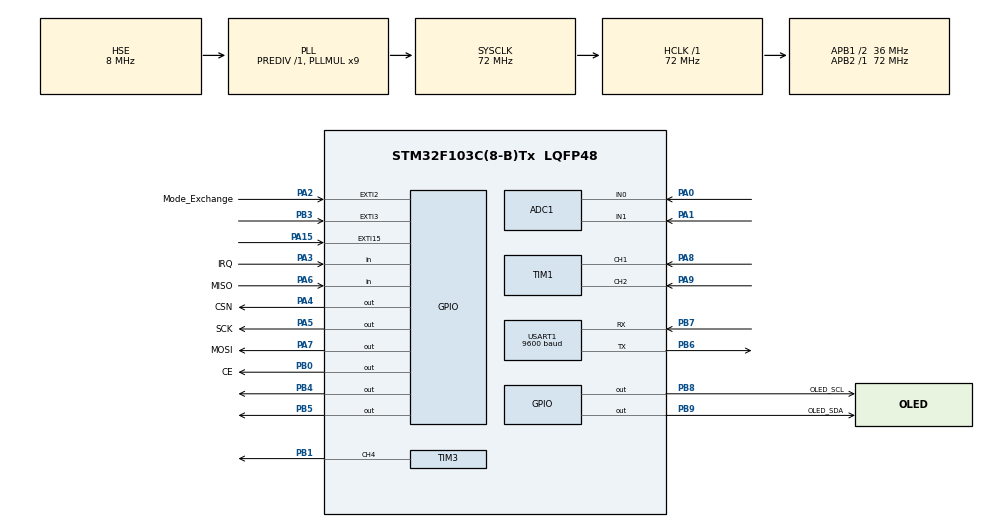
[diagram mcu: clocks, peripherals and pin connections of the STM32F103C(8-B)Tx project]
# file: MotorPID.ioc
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ADC1.Channel-1\#ChannelRegularConversion=ADC_CHANNEL_0
ADC1.Channel-2\#ChannelRegularConversion=ADC_CHANNEL_1
ADC1.ContinuousConvMode=ENABLE
ADC1.NbrOfConversion=2
ADC1.NbrOfConversionFlag=1
ADC1.Rank-1\#ChannelRegularConversion=1
ADC1.Rank-2\#ChannelRegularConversion=2
ADC1.SamplingTime-1\#ChannelRegularConversion=ADC_SAMPLETIME_55CYCLES_5
ADC1.SamplingTime-2\#ChannelRegularConversion=ADC_SAMPLETIME_55CYCLES_5
ADC1.master=1
Dma.ADC1.0.Direction=DMA_PERIPH_TO_MEMORY
Dma.ADC1.0.Instance=DMA1_Channel1
Dma.ADC1.0.MemDataAlignment=DMA_MDATAALIGN_HALFWORD
Dma.ADC1.0.MemInc=DMA_MINC_ENABLE
Dma.ADC1.0.Mode=DMA_CIRCULAR
Dma.ADC1.0.PeriphDataAlignment=DMA_PDATAALIGN_HALFWORD
Dma.ADC1.0.PeriphInc=DMA_PINC_DISABLE
Dma.ADC1.0.Priority=DMA_PRIORITY_LOW
Dma.Request0=ADC1
Mcu.Family=STM32F1
Mcu.Name=STM32F103C(8-B)Tx
Mcu.Package=LQFP48
NVIC.DMA1_Channel1_IRQn=true\:0\:0\:false\:false\:true\:false\:true\:true
NVIC.EXTI15_10_IRQn=true\:1\:0\:true\:false\:true\:true\:true\:true
NVIC.EXTI2_IRQn=true\:1\:0\:true\:false\:true\:true\:true\:true
NVIC.EXTI3_IRQn=true\:1\:0\:true\:false\:true\:true\:true\:true
NVIC.PriorityGroup=NVIC_PRIORITYGROUP_4
NVIC.TIM2_IRQn=true\:2\:0\:true\:false\:true\:true\:true\:true
PA0-WKUP.Signal=ADCx_IN0
PA1.Signal=ADCx_IN1
PA13.Mode=Serial_Wire
PA13.Signal=SYS_JTMS-SWDIO
PA14.Mode=Serial_Wire
PA14.Signal=SYS_JTCK-SWCLK
PA15.GPIO_ModeDefaultEXTI=GPIO_MODE_IT_FALLING
PA15.GPIO_PuPd=GPIO_PULLUP
PA15.Signal=GPXTI15
PA2.GPIO_Label=Mode_Exchange
PA2.GPIO_ModeDefaultEXTI=GPIO_MODE_IT_FALLING
PA2.GPIO_PuPd=GPIO_PULLUP
PA2.Signal=GPXTI2
PA3.GPIO_Label=IRQ
PA3.GPIO_PuPd=GPIO_PULLUP
PA3.Signal=GPIO_Input
PA4.GPIO_Label=CSN
PA4.GPIO_Speed=GPIO_SPEED_FREQ_HIGH
PA4.Signal=GPIO_Output
PA5.GPIO_Label=SCK
PA5.GPIO_Speed=GPIO_SPEED_FREQ_HIGH
PA5.Signal=GPIO_Output
PA6.GPIO_Label=MISO
PA6.GPIO_PuPd=GPIO_PULLUP
PA6.Signal=GPIO_Input
PA7.GPIO_Label=MOSI
PA7.GPIO_Speed=GPIO_SPEED_FREQ_HIGH
PA7.Signal=GPIO_Output
PA8.Signal=S_TIM1_CH1
PA9.Signal=S_TIM1_CH2
PB0.GPIO_Label=CE
PB0.GPIO_Speed=GPIO_SPEED_FREQ_HIGH
PB0.Signal=GPIO_Output
PB1.Signal=S_TIM3_CH4
PB3.GPIO_ModeDefaultEXTI=GPIO_MODE_IT_FALLING
PB3.GPIO_PuPd=GPIO_PULLUP
PB3.Signal=GPXTI3
PB4.GPIO_Speed=GPIO_SPEED_FREQ_HIGH
PB4.Signal=GPIO_Output
PB5.GPIO_Speed=GPIO_SPEED_FREQ_HIGH
PB5.Signal=GPIO_Output
PB6.Mode=Asynchronous
PB6.Signal=USART1_TX
PB7.Mode=Asynchronous
PB7.Signal=USART1_RX
PB8.GPIO_Label=OLED_SCL
PB8.GPIO_ModeDefaultOutputPP=GPIO_MODE_OUTPUT_OD
PB8.GPIO_PuPd=GPIO_NOPULL
PB8.GPIO_Speed=GPIO_SPEED_FREQ_HIGH
PB8.Signal=GPIO_Output
PB9.GPIO_Label=OLED_SDA
PB9.GPIO_ModeDefaultOutputPP=GPIO_MODE_OUTPUT_OD
PB9.GPIO_PuPd=GPIO_NOPULL
PB9.GPIO_Speed=GPIO_SPEED_FREQ_HIGH
PB9.Signal=GPIO_Output
PD0-OSC_IN.Mode=HSE-External-Oscillator
PD0-OSC_IN.Signal=RCC_OSC_IN
PD1-OSC_OUT.Mode=HSE-External-Oscillator
PD1-OSC_OUT.Signal=RCC_OSC_OUT
ProjectManager.HeapSize=0x200
ProjectManager.StackSize=0x400
ProjectManager.TargetToolchain=STM32CubeIDE
RCC.ADCPresc=RCC_ADCPCLK2_DIV6
RCC.AHBFreq_Value=72000000
RCC.APB1CLKDivider=RCC_HCLK_DIV2
RCC.APB1Freq_Value=36000000
RCC.APB1TimFreq_Value=72000000
RCC.APB2Freq_Value=72000000
RCC.APB2TimFreq_Value=72000000
RCC.HCLKFreq_Value=72000000
RCC.PLLMUL=RCC_PLL_MUL9
RCC.PLLSourceVirtual=RCC_PLLSOURCE_HSE
RCC.SYSCLKFreq_VALUE=72000000
RCC.SYSCLKSource=RCC_SYSCLKSOURCE_PLLCLK
RCC.USBFreq_Value=72000000
SH.ADCx_IN0.0=ADC1_IN0,IN0
SH.ADCx_IN0.1=ADC2_IN0
SH.ADCx_IN1.0=ADC1_IN1,IN1
SH.S_TIM1_CH1.0=TIM1_CH1,Encoder_Interface
SH.S_TIM1_CH2.0=TIM1_CH2,Encoder_Interface
SH.S_TIM3_CH4.0=TIM3_CH4,PWM Generation4 CH4
TIM1.AutoReloadPreload=TIM_AUTORELOAD_PRELOAD_ENABLE
TIM1.EncoderMode=TIM_ENCODERMODE_TI12
TIM2.AutoReloadPreload=TIM_AUTORELOAD_PRELOAD_ENABLE
TIM2.Period=100-1
TIM2.Prescaler=7200-1
TIM3.AutoReloadPreload=TIM_AUTORELOAD_PRELOAD_ENABLE
TIM3.Channel-PWM\ Generation4\ CH4=TIM_CHANNEL_4
TIM3.Period=1000-1
TIM3.Prescaler=72-1
USART1.BaudRate=9600
USART1.Mode=MODE_TX
USART1.VirtualMode=VM_ASYNC
VP_TIM2_VS_ClockSourceINT.Mode=Internal
VP_TIM3_VS_ClockSourceINT.Mode=Internal
board=custom

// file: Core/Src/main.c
/* USER CODE BEGIN Header */
/**
  ******************************************************************************
  * @file           : main.c
  * @brief          : Main program body
  ******************************************************************************
  * @attention
  *
  * Copyright (c) 2024 STMicroelectronics.
  * All rights reserved.
  *
  * This software is licensed under terms that can be found in the LICENSE file
  * in the root directory of this software component.
  * If no LICENSE file comes with this software, it is provided AS-IS.
  *
  ******************************************************************************
  */
/* USER CODE END Header */
#include "main.h"
#include "adc.h"
#include "dma.h"
#include "tim.h"
#include "usart.h"
#include "gpio.h"

void SystemClock_Config(void);

/* USER CODE BEGIN 0 */
int16_t  speed=0;
int count =0;
int16_t  speed_now=0;
int16_t control=0;
int16_t ADD =0;
int16_t  circle =0;
int16_t  Target_Position=0;
int16_t  Target_Speed =0;
uint8_t  Data[2];
uint16_t ADC_Value[2]={0};
uint8_t  Mode_State=2;

enum Mode {
    Constant_Speed_key=1,
    Constant_Circle_P,
    Constant_Circle_N,
    Constant_Circle_Start,
    Constant_Speed_rocker,
    follow
};//定义了枚举量，来表示不同的状�??
/* USER CODE END 0 */

int main(void)
{

  /* MCU Configuration--------------------------------------------------------*/

  /* Reset of all peripherals, Initializes the Flash interface and the Systick. */
  HAL_Init();

  /* Configure the system clock */
  SystemClock_Config();

  /* Initialize all configured peripherals */
  MX_GPIO_Init();
  MX_DMA_Init();
  MX_TIM1_Init();
  MX_TIM2_Init();
  MX_TIM3_Init();
  MX_USART1_UART_Init();
  MX_ADC1_Init();
  /* USER CODE BEGIN 2 */
    OLED_Init();
    NRF24L01_Init();
    HAL_TIM_Base_Start_IT(&htim2);
    HAL_TIM_Encoder_Start(&htim1,TIM_CHANNEL_1|TIM_CHANNEL_2);

    HAL_TIM_PWM_Start(&htim3,  TIM_CHANNEL_4);
   //   HAL_TIM_PWM_Start(&htim3,  TIM_CHANNEL_2);
    HAL_TIM_PWM_Start(&htim3,  TIM_CHANNEL_3|TIM_CHANNEL_4);

    HAL_ADCEx_Calibration_Start(&hadc1);//校准ADC
    HAL_ADC_Start_DMA(&hadc1,(uint32_t*)ADC_Value, 2);
  /* USER CODE END 2 */

  /* Infinite loop */
  while (1) {

    /* USER CODE BEGIN 3 */
      HAL_ADC_Start_DMA(&hadc1,(uint32_t*)ADC_Value, 2);//�?启ADC—�?�DMA转运获取摇杆数据

      if (Mode_State == follow) {
          if (R_IRQ() == 0) {
              ReceiveData(Data);
          }  //当中断置0时接收，节约资源
          uint16_t temp = (Data[1] << 8) + Data[0];
          Target_Position = -temp;
      }    //follow模式下接收从机发送的位置信息

      if (Mode_State == Constant_Speed_rocker){

          if(ADC_Value[0]>3000)
       Target_Speed=(int16_t)(80.0/1095*(ADC_Value[0]-3000));

        else if(ADC_Value[0]<2590)
              Target_Speed=(int16_t)(80.0/2590*(ADC_Value[0]-2590));

      else
          {Target_Speed=0;
          }
      }    //摇杆数据处理
      OLED_ShowString(1, 2, "Circle:");
      OLED_ShowSignedNum(1, 8, circle, 2);
      OLED_ShowString(2, 2, "Speed:");
      OLED_ShowSignedNum(2, 8, Target_Speed, 2);
      OLED_ShowSignedNum(2, 11, speed_now, 2);
      OLED_ShowString(3, 2, "Mode:");
      if (Mode_State == Constant_Speed_key)
          OLED_ShowString(3, 8, "SpeedK");
     else  if (Mode_State == Constant_Speed_rocker)
          OLED_ShowString(3, 8, "SpeedR");
      else if (Mode_State == Constant_Circle_P)
          OLED_ShowString(3, 8, "+Circle");
      else if (Mode_State == Constant_Circle_N)
          OLED_ShowString(3, 8, "-Circle");
      else if (Mode_State == follow)
          OLED_ShowString(3, 8, "Follow ");
      else if (Mode_State == Constant_Circle_Start)
          OLED_ShowString(3, 8, "Circle ");
      OLED_ShowSignedNum(4, 1, Target_Position, 4);
      OLED_ShowSignedNum(4, 7, ADD, 4);
    //  printf("%d,%d\n", ADC_Value[0],ADC_Value[1]);
   //OLED屏幕显示
      printf("%d,%d\n",Target_Speed, speed_now);
  }
  /* USER CODE END 3 */
}

void SystemClock_Config(void)
{
  RCC_OscInitTypeDef RCC_OscInitStruct = {0};
  RCC_ClkInitTypeDef RCC_ClkInitStruct = {0};
  RCC_PeriphCLKInitTypeDef PeriphClkInit = {0};

  /** Initializes the RCC Oscillators according to the specified parameters
  * in the RCC_OscInitTypeDef structure.
  */
  RCC_OscInitStruct.OscillatorType = RCC_OSCILLATORTYPE_HSE;
  RCC_OscInitStruct.HSEState = RCC_HSE_ON;
  RCC_OscInitStruct.HSEPredivValue = RCC_HSE_PREDIV_DIV1;
  RCC_OscInitStruct.HSIState = RCC_HSI_ON;
  RCC_OscInitStruct.PLL.PLLState = RCC_PLL_ON;
  RCC_OscInitStruct.PLL.PLLSource = RCC_PLLSOURCE_HSE;
  RCC_OscInitStruct.PLL.PLLMUL = RCC_PLL_MUL9;
  if (HAL_RCC_OscConfig(&RCC_OscInitStruct) != HAL_OK)
  {
    Error_Handler();
  }

  /** Initializes the CPU, AHB and APB buses clocks
  */
  RCC_ClkInitStruct.ClockType = RCC_CLOCKTYPE_HCLK|RCC_CLOCKTYPE_SYSCLK
                              |RCC_CLOCKTYPE_PCLK1|RCC_CLOCKTYPE_PCLK2;
  RCC_ClkInitStruct.SYSCLKSource = RCC_SYSCLKSOURCE_PLLCLK;
  RCC_ClkInitStruct.AHBCLKDivider = RCC_SYSCLK_DIV1;
  RCC_ClkInitStruct.APB1CLKDivider = RCC_HCLK_DIV2;
  RCC_ClkInitStruct.APB2CLKDivider = RCC_HCLK_DIV1;

  if (HAL_RCC_ClockConfig(&RCC_ClkInitStruct, FLASH_LATENCY_2) != HAL_OK)
  {
    Error_Handler();
  }
  PeriphClkInit.PeriphClockSelection = RCC_PERIPHCLK_ADC;
  PeriphClkInit.AdcClockSelection = RCC_ADCPCLK2_DIV6;
  if (HAL_RCCEx_PeriphCLKConfig(&PeriphClkInit) != HAL_OK)
  {
    Error_Handler();
  }
}

/* USER CODE BEGIN 4 */
void HAL_GPIO_EXTI_Callback(uint16_t GPIO_Pin)
    {
    if(GPIO_Pin==GPIO_PIN_2 && HAL_GPIO_ReadPin(GPIOA,GPIO_PIN_2)==GPIO_PIN_RESET)
    {
        HAL_Delay(20);
        while(HAL_GPIO_ReadPin(GPIOA,GPIO_PIN_2)==GPIO_PIN_RESET);
        HAL_Delay(20);
        if (Mode_State==Constant_Speed_key) {
            Mode_State=Constant_Speed_rocker;
            Motor_SetSpeed(0);
            speed_now=0;
            circle=0;
            Target_Speed=0;
        }
else if(Mode_State==Constant_Speed_rocker) {
    Mode_State =Constant_Circle_P;
    Motor_SetSpeed(0);
    speed_now=0;
    circle=0;
    Target_Speed=0;
}
 else if(Mode_State==Constant_Circle_P&&circle==0)
{  Mode_State=Constant_Circle_N;
    Motor_SetSpeed(0);
    speed_now=0;
}
  else  if(Mode_State==Constant_Circle_N&&circle==0)
{   Mode_State=follow;
    circle=0;
    Motor_SetSpeed(0);
    Target_Speed=0;
    speed_now=0;
}
  else if (Mode_State==Constant_Circle_P||Mode_State==Constant_Circle_N) {
     Target_Position=1560*circle;
    __HAL_TIM_SET_COUNTER(&htim1,0);
    Mode_State =Constant_Circle_Start;
}
else if(Mode_State==Constant_Circle_Start)
{
    Mode_State=follow;
    Target_Speed=0;
    ADD=0;
    circle=0;
    Motor_SetSpeed(0);
    speed_now=0;
    __HAL_TIM_SET_COUNTER(&htim1,0);
}
else if(Mode_State==follow)
{
    Mode_State=Constant_Speed_key;
    Target_Speed=0;
    ADD=0;
}
    }    /*摇杆按键改变模式*/
    if(GPIO_Pin==GPIO_PIN_15 && HAL_GPIO_ReadPin(GPIOA,GPIO_PIN_15)==GPIO_PIN_RESET)
        { HAL_Delay(20);
            while(HAL_GPIO_ReadPin(GPIOA,GPIO_PIN_15)==GPIO_PIN_RESET);//等待按键松开
            HAL_Delay(20);
          if(Mode_State==Constant_Circle_P)
                circle++;
            if(Mode_State==Constant_Circle_N)
                circle--;
            if(Mode_State==Constant_Speed_key)
            {  if (Target_Speed >= -40)
                    Target_Speed -= 20;
                else
                { Target_Speed = 0;
               }
            }
        }
        if(GPIO_Pin==GPIO_PIN_3 && HAL_GPIO_ReadPin(GPIOB,GPIO_PIN_3)==GPIO_PIN_RESET)
        {   HAL_Delay(20);
            //while(HAL_GPIO_ReadPin(GPIOB,GPIO_PIN_3)==GPIO_PIN_RESET);
            //HAL_Delay(20);
//等待按键松开
         if( Mode_State!=Constant_Circle_Start) {
             if (Target_Speed <= 40)
                 Target_Speed += 20;
             else
             { Target_Speed = 0;
                 }

         }
        }

}

void HAL_TIM_PeriodElapsedCallback(TIM_HandleTypeDef *htim)
{
    if(htim==(&htim2))
    {
        if(Mode_State==Constant_Circle_Start)
        {
        speed_now=Encoder_Get();
        ADD+=speed_now;
        control= PositionControl(ADD,Target_Position);
          control= PWM_Limit(control,Target_Speed);
       if(ADD-Target_Position<5&&ADD-Target_Position>-5)
           Motor_SetSpeed(0);
       else
       {control=  SpeedControl(speed_now,control);
            control= PWM_Limit(control,1000);
       Motor_SetSpeed(control);}
}  //串级PID控制
 else  if(Mode_State==Constant_Speed_key ||Mode_State==Constant_Speed_rocker){

         speed_now = Encoder_Get();
        control = Const_SpeedControl(speed_now, Target_Speed);
         PWM_Limit(control, 1000);
       /*  if(Target_Speed==0)
             Motor_SetSpeed(0);
         else*/
       Motor_SetSpeed(control);

    }   //定速，增量式PID
        else  if(Mode_State==follow)
        {
            speed_now=Encoder_Get();
            ADD+=speed_now;
            control= Follow_PositionControl(ADD,Target_Position);
           // control= PWM_Limit(control,Target_Speed);
            control= PWM_Limit(control,1000);
            if(ADD-Target_Position<4&&ADD-Target_Position>-4)
                control=0;
           /* else
                control=  SpeedControl(speed_now,control);*/
            Motor_SetSpeed(control);
        } //跟随模式，仅位置式PID

    }
}
/* USER CODE END 4 */

void Error_Handler(void)
{
  __disable_irq();
  while (1)
  {
  }
}
